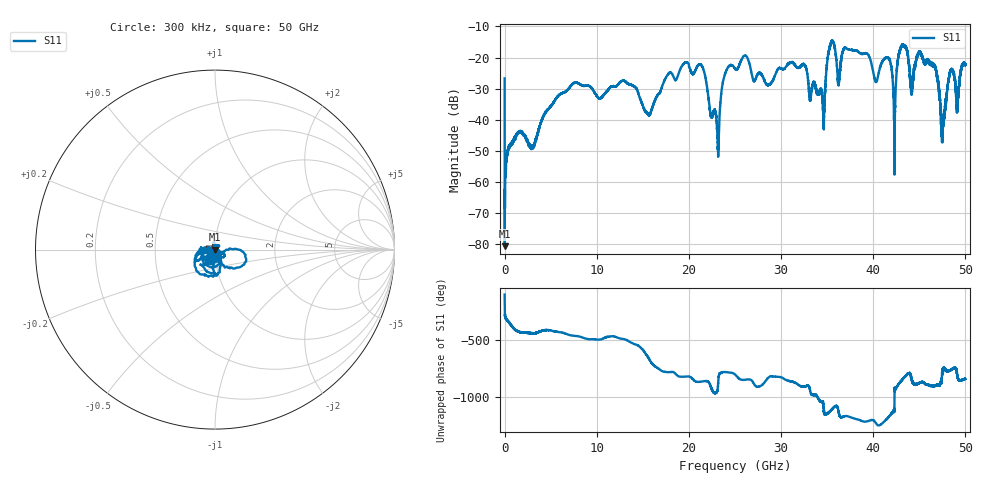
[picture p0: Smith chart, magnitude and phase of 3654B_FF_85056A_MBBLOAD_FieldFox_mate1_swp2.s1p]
!Created with skrf (http://scikit-rf.org).
# Hz S RI R 50.0
!freq ReS11 ImS11
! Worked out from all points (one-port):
!   10001 points, 300 kHz to 50 GHz, reference 50 ohm
!   lowest |S11| = -80.6 dB at 20.3 MHz (marker M1), VSWR 1.00, Z = 50 + j0.00541 ohm
!   |S11| at or under -10 dB: start of sweep to end of sweep
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300000  -0.00782 -0.0456
2.029988e7  -7.66e-05 5.41e-05
2.552985e8  0.00202 0.00172
3.025282e9  0.000759 -0.00355
6.250262e9  0.00771 -0.0259
1.250022e10  -0.0223 -0.0329
1.563021e10  0.0057 0.0107
1.875019e10  -0.000921 -0.0486
2.135517e10  -0.0606 -0.0443
2.310516e10  -0.00326 0.00291
2.388016e10  0.0268 -0.0455
2.500015e10  0.0112 -0.0655
3.125011e10  -0.0691 -0.0481
3.453009e10  0.0124 0.0103
3.542009e10  0.1417 -0.0972
3.625508e10  0.0248 -0.031
3.750008e10  -0.01 -0.1324
4.029506e10  -0.0342 -0.0222
4.162505e10  -0.0165 -0.0994
4.227505e10  0.00548 -0.00316
4.295004e10  -0.1136 -0.0828
4.375004e10  0.0288 -0.11
4.416504e10  -0.0194 -0.0272
4.662502e10  -0.0724 0.0036
4.755001e10  0.00603 -0.00683
4.839501e10  0.0429 -0.0417
4.913001e10  0.00132 -0.017
5e10  -0.0387 -0.068
